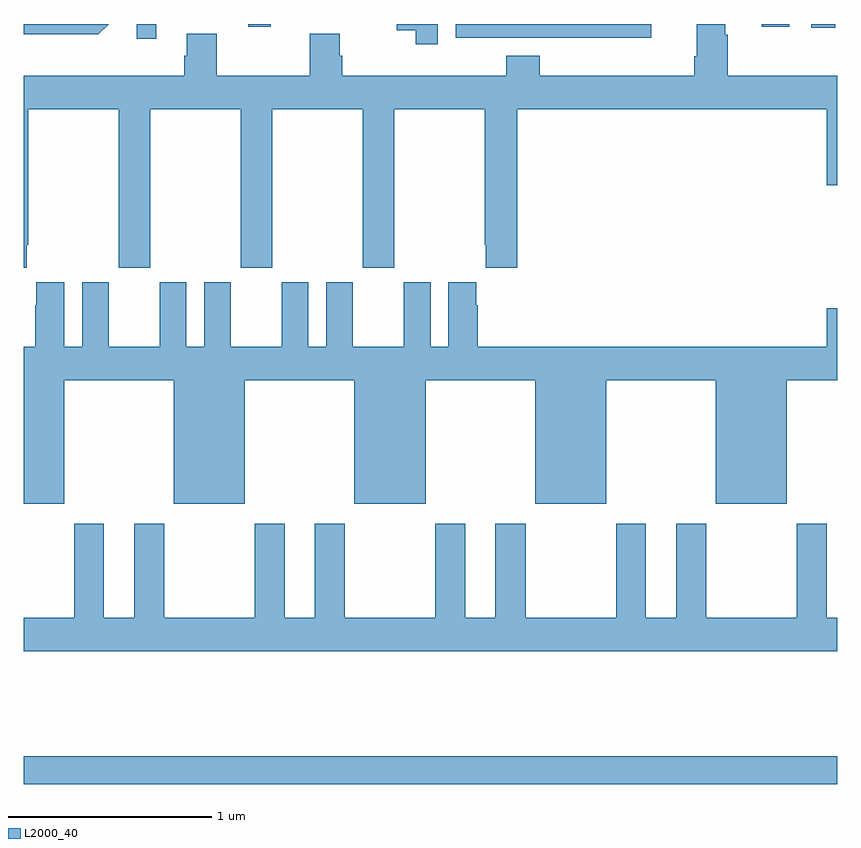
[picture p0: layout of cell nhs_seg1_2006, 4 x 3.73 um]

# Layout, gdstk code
import gdstk
lib = gdstk.Library(unit=1e-6, precision=1e-09)
def R(c, l, rs):  # rectangles x0, y0, x1, y1
    for r in rs: c.add(gdstk.rectangle(r[:2], r[2:], *l))
def P(c, l, *ps):  # polygons
    for p in ps: c.add(gdstk.Polygon(p, *l))
L2000_40 = (2000, 40)

nhs_seg1_2006 = lib.new_cell('nhs_seg1_2006')
R(nhs_seg1_2006, L2000_40, [(221,500.464,225,500.6), (221.556,504.126,221.653,504.199), (224.87,504.18,224.989,504.199), (222.104,504.186,222.215,504.199), (224.627,504.186,224.763,504.199)])
P(nhs_seg1_2006, L2000_40, [(224.085,504.199),(223.125,504.199),(223.125,504.132),(223.621,504.132),(223.621,504.131),(224.085,504.131)],
  [(221.419,504.199),(221,504.199),(221,504.149),(221.368,504.149)],
  [(223.035,504.199),(222.834,504.199),(222.834,504.169),(222.927,504.169),(222.927,504.099),(223.035,504.099)],
  [(221.017,503.113),(221.022,503.113),(221.022,503.78),(221.467,503.78),(221.467,503.001),(221.622,503.001),(221.622,503.78),(222.067,503.78),(222.067,503.001),(222.222,503.001),(222.222,503.78),(222.667,503.78),(222.667,503.001),(222.822,503.001),(222.822,503.78),(223.267,503.78),(223.267,503.113),(223.271,503.113),(223.271,503.001),(223.427,503.001),(223.427,503.78),(224.948,503.78),(224.948,503.406),(225,503.406),(225,503.944),(224.462,503.944),(224.462,504.146),(224.449,504.146),(224.449,504.199),(224.309,504.199),(224.309,504.04),(224.297,504.04),(224.297,503.944),(223.538,503.944),(223.538,504.043),(223.373,504.043),(223.373,503.944),(222.566,503.944),(222.566,504.042),(222.553,504.042),(222.553,504.152),(222.406,504.152),(222.406,503.944),(221.949,503.944),(221.949,504.152),(221.801,504.152),(221.801,504.042),(221.789,504.042),(221.789,503.944),(221,503.944),(221,503.001),(221.017,503.001)],
  [(222.626,501.842),(222.976,501.842),(222.976,502.448),(223.514,502.448),(223.514,501.842),(223.864,501.842),(223.864,502.448),(224.402,502.448),(224.402,501.842),(224.752,501.842),(224.752,502.448),(225,502.448),(225,502.801),(224.948,502.801),(224.948,502.612),(223.232,502.612),(223.232,502.817),(223.225,502.817),(223.225,502.93),(223.088,502.93),(223.088,502.612),(223,502.612),(223,502.93),(222.869,502.93),(222.869,502.612),(222.619,502.612),(222.619,502.93),(222.488,502.93),(222.488,502.612),(222.4,502.612),(222.4,502.93),(222.269,502.93),(222.269,502.612),(222.019,502.612),(222.019,502.93),(221.888,502.93),(221.888,502.612),(221.8,502.612),(221.8,502.93),(221.669,502.93),(221.669,502.612),(221.419,502.612),(221.419,502.93),(221.288,502.93),(221.288,502.612),(221.2,502.612),(221.2,502.93),(221.063,502.93),(221.063,502.817),(221.057,502.817),(221.057,502.612),(221,502.612),(221,501.842),(221.2,501.842),(221.2,502.448),(221.738,502.448),(221.738,501.842),(222.088,501.842),(222.088,502.448),(222.626,502.448)],
  [(225,501.28),(224.947,501.28),(224.947,501.742),(224.8,501.742),(224.8,501.28),(224.355,501.28),(224.355,501.742),(224.207,501.742),(224.207,501.28),(224.059,501.28),(224.059,501.742),(223.912,501.742),(223.912,501.28),(223.467,501.28),(223.467,501.742),(223.319,501.742),(223.319,501.28),(223.171,501.28),(223.171,501.742),(223.024,501.742),(223.024,501.28),(222.579,501.28),(222.579,501.742),(222.431,501.742),(222.431,501.28),(222.283,501.28),(222.283,501.742),(222.136,501.742),(222.136,501.28),(221.691,501.28),(221.691,501.742),(221.543,501.742),(221.543,501.28),(221.395,501.28),(221.395,501.742),(221.248,501.742),(221.248,501.28),(221,501.28),(221,501.116),(225,501.116)])

lib.write_gds('nhs_seg1_2006.gds')
